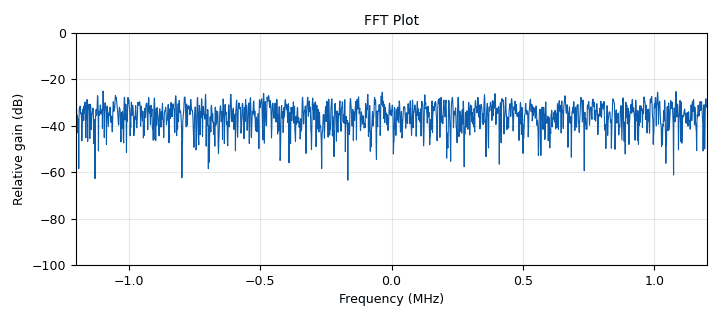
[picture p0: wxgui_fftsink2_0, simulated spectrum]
<?xml version='1.0' encoding='utf-8'?>
<flow_graph>
<block>
<key>options</key>
<param><key>id</key><value>top_block</value></param>
<param><key>generate_options</key><value>wx_gui</value></param>
<param><key>category</key><value>Custom</value></param>
</block>
<block>
<key>wxgui_fftsink2</key>
<param><key>id</key><value>wxgui_fftsink2_0</value></param>
<param><key>type</key><value>complex</value></param>
<param><key>title</key><value>FFT Plot</value></param>
<param><key>samp_rate</key><value>samp_rate</value></param>
<param><key>baseband_freq</key><value>0</value></param>
<param><key>y_per_div</key><value>10</value></param>
<param><key>y_divs</key><value>10</value></param>
<param><key>ref_level</key><value>0</value></param>
<param><key>ref_scale</key><value>2.0</value></param>
<param><key>fft_size</key><value>2048</value></param>
<param><key>fft_rate</key><value>15</value></param>
<param><key>peak_hold</key><value>False</value></param>
<param><key>average</key><value>False</value></param>
<param><key>avg_alpha</key><value>0</value></param>
<param><key>win</key><value>None</value></param>
<param><key>freqvar</key><value>None</value></param>
</block>
<block>
<key>variable</key>
<param><key>id</key><value>samp_rate</value></param>
<param><key>value</key><value>2.4e6</value></param>
</block>
<block>
<key>fft_vxx</key>
<param><key>id</key><value>fft_vxx_0</value></param>
<param><key>type</key><value>complex</value></param>
<param><key>fft_size</key><value>4096</value></param>
<param><key>forward</key><value>True</value></param>
<param><key>window</key><value>window.blackmanharris(1024)</value></param>
<param><key>shift</key><value>False</value></param>
</block>
<block>
<key>gr_throttle</key>
<param><key>id</key><value>gr_throttle_0</value></param>
<param><key>type</key><value>complex</value></param>
<param><key>samples_per_second</key><value>samp_rate</value></param>
<param><key>vlen</key><value>1</value></param>
</block>
<block>
<key>gr_noise_source_x</key>
<param><key>id</key><value>gr_noise_source_x_0</value></param>
<param><key>type</key><value>complex</value></param>
<param><key>noise_type</key><value>gr.GR_GAUSSIAN</value></param>
<param><key>amp</key><value>1</value></param>
<param><key>seed</key><value>42</value></param>
</block>
<block>
<key>howto_stream_to_vector</key>
<param><key>id</key><value>howto_stream_to_vector_0</value></param>
<param><key>type</key><value>complex</value></param>
<param><key>num_items</key><value>4096</value></param>
<param><key>vlen</key><value>1</value></param>
</block>
<block>
<key>gr_null_sink</key>
<param><key>id</key><value>gr_null_sink_0</value></param>
<param><key>type</key><value>float</value></param>
<param><key>vlen</key><value>1</value></param>
</block>
<block>
<key>gr_vector_to_stream</key>
<param><key>id</key><value>gr_vector_to_stream_0</value></param>
<param><key>type</key><value>float</value></param>
<param><key>num_items</key><value>127</value></param>
<param><key>vlen</key><value>1</value></param>
</block>
<block>
<key>howto_spectrum_sensing_cf</key>
<param><key>id</key><value>howto_spectrum_sensing_cf_0</value></param>
<param><key>sample_rate</key><value>samp_rate</value></param>
<param><key>ninput_samples</key><value>4096</value></param>
<param><key>samples_per_band</key><value>16</value></param>
<param><key>pfd</key><value>0.001</value></param>
<param><key>pfa</key><value>0.0001</value></param>
<param><key>tcme</key><value>1.9528</value></param>
<param><key>debug_far</key><value>True</value></param>
<param><key>debug_cdr</key><value>False</value></param>
<param><key>band_location</key><value>0</value></param>
<param><key>debug_stats</key><value>False</value></param>
<param><key>noutput_samples</key><value>127</value></param>
</block>
<connection><source_block_id>fft_vxx_0</source_block_id><sink_block_id>howto_spectrum_sensing_cf_0</sink_block_id><source_key>0</source_key><sink_key>0</sink_key></connection>
<connection><source_block_id>howto_stream_to_vector_0</source_block_id><sink_block_id>fft_vxx_0</sink_block_id><source_key>0</source_key><sink_key>0</sink_key></connection>
<connection><source_block_id>gr_throttle_0</source_block_id><sink_block_id>wxgui_fftsink2_0</sink_block_id><source_key>0</source_key><sink_key>0</sink_key></connection>
<connection><source_block_id>gr_noise_source_x_0</source_block_id><sink_block_id>gr_throttle_0</sink_block_id><source_key>0</source_key><sink_key>0</sink_key></connection>
<connection><source_block_id>gr_noise_source_x_0</source_block_id><sink_block_id>howto_stream_to_vector_0</sink_block_id><source_key>0</source_key><sink_key>0</sink_key></connection>
<connection><source_block_id>howto_spectrum_sensing_cf_0</source_block_id><sink_block_id>gr_vector_to_stream_0</sink_block_id><source_key>0</source_key><sink_key>0</sink_key></connection>
<connection><source_block_id>gr_vector_to_stream_0</source_block_id><sink_block_id>gr_null_sink_0</sink_block_id><source_key>0</source_key><sink_key>0</sink_key></connection>
</flow_graph>
